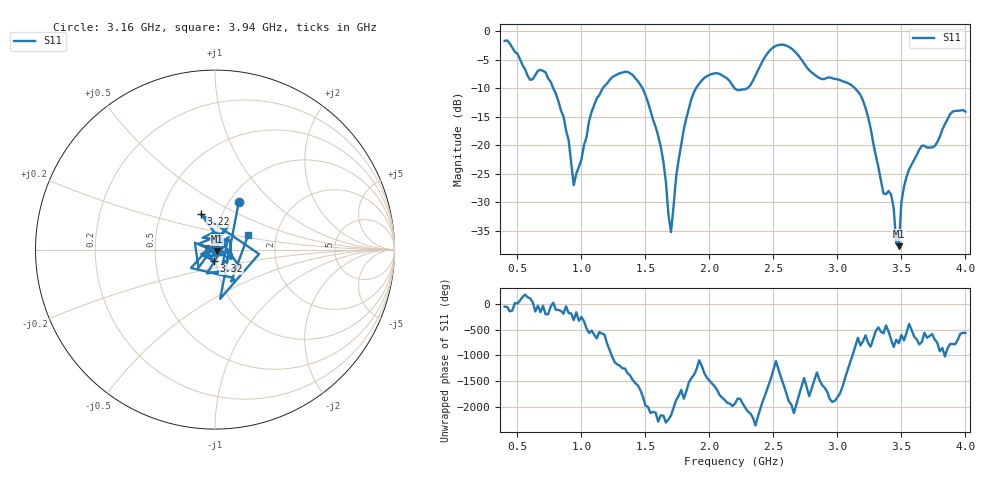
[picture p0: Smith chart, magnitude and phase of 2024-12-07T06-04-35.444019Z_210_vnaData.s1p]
!Created with skrf (http://scikit-rf.org).
# Hz S RI R 50.0
!freq ReS11 ImS11
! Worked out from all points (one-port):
!   181 points, 400 MHz to 4 GHz, reference 50 ohm
!   lowest |S11| = -37.7 dB at 3.48 GHz (marker M1), VSWR 1.03, Z = 51 - j0.891 ohm
!   |S11| at or under -10 dB: 779.5 MHz to 1.169 GHz (389.2 MHz wide, 40 % of centre); 1.477 GHz to 1.896 GHz (419 MHz wide, 24.8 % of centre); 3.136 GHz to end of sweep (the widest 3 of 4)
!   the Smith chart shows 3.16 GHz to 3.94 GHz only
!   S11 on the Smith chart (normalised r, x): 3.16 GHz: 1.11, +0.64; 3.22 GHz: 0.80, +0.33; 3.32 GHz: 0.98, -0.13; 3.94 GHz: 1.43, +0.23
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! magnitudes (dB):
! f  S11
! 400 MHz  -1.7
! 600 MHz  -8.5
! 720 MHz  -7.2
! 860 MHz  -15.0
! 940 MHz  -27.0
! 1.12 GHz  -11.8
! 1.3 GHz  -7.4
! 1.52 GHz  -12.5
! 1.62 GHz  -20.3
! 1.7 GHz  -35.3
! 1.76 GHz  -22.6
! 1.86 GHz  -11.9
! 1.94 GHz  -8.7
! 2.2 GHz  -10.1
! 2.5 GHz  -2.8
! 2.66 GHz  -3.4
! 3.1 GHz  -9.3
! 3.16 GHz  -10.6
! 3.22 GHz  -13.5
! 3.32 GHz  -23.8
! 3.36 GHz  -28.5
! 3.42 GHz  -28.7
! 3.46 GHz  -37.3
! 3.48 GHz  -37.7
! 3.5 GHz  -30.0
! 3.56 GHz  -24.3
! 3.94 GHz  -14.0
! 4 GHz  -14.1
